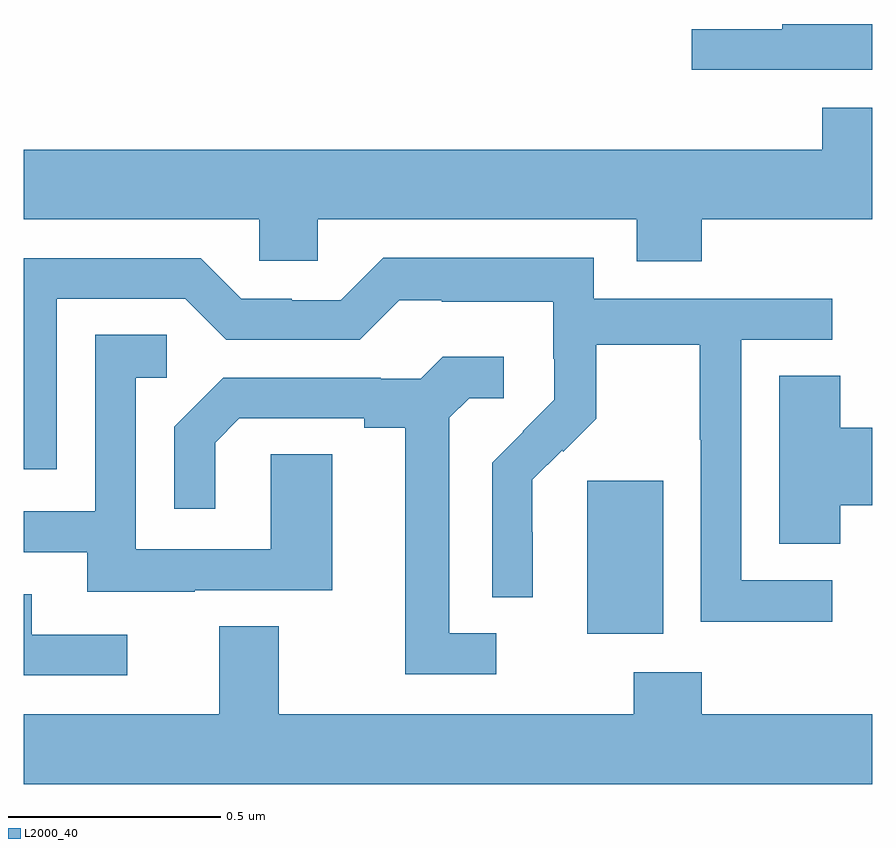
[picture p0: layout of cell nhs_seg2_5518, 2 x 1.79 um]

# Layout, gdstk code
import gdstk
lib = gdstk.Library(unit=1e-6, precision=1e-09)
def R(c, l, rs):  # rectangles x0, y0, x1, y1
    for r in rs: c.add(gdstk.rectangle(r[:2], r[2:], *l))
def P(c, l, *ps):  # polygons
    for p in ps: c.add(gdstk.Polygon(p, *l))
L2000_40 = (2000, 40)

nhs_seg2_5518 = lib.new_cell('nhs_seg2_5518')
R(nhs_seg2_5518, L2000_40, [(181.328,609.362,181.507,609.723)])
P(nhs_seg2_5518, L2000_40, [(182,610.8),(181.788,610.8),(181.788,610.788),(181.575,610.788),(181.575,610.692),(182,610.692)],
  [(181.598,610.34),(182,610.34),(182,610.603),(181.883,610.603),(181.883,610.504),(180,610.504),(180,610.34),(180.555,610.34),(180.555,610.242),(180.693,610.242),(180.693,610.34),(181.445,610.34),(181.445,610.241),(181.598,610.241)],
  [(181.906,609.489),(181.692,609.489),(181.692,610.056),(181.906,610.056),(181.906,610.152),(181.344,610.152),(181.344,610.249),(180.847,610.249),(180.747,610.149),(180.632,610.149),(180.632,610.152),(180.513,610.152),(180.417,610.248),(180,610.248),(180,609.75),(180.078,609.75),(180.078,610.152),(180.381,610.152),(180.477,610.056),(180.792,610.056),(180.885,610.149),(180.985,610.149),(180.985,610.145),(181.248,610.145),(181.248,610.011),(181.25,610.011),(181.25,609.914),(181.176,609.84),(181.177,609.839),(181.104,609.766),(181.104,609.448),(181.2,609.448),(181.2,609.602),(181.199,609.602),(181.199,609.725),(181.269,609.795),(181.272,609.792),(181.349,609.869),(181.349,610.044),(181.594,610.044),(181.594,609.82),(181.596,609.82),(181.596,609.391),(181.906,609.391)],
  [(180.403,609.465),(180.727,609.465),(180.727,609.785),(180.582,609.785),(180.582,609.561),(180.264,609.561),(180.264,609.966),(180.337,609.966),(180.337,610.067),(180.168,610.067),(180.168,609.651),(180,609.651),(180,609.555),(180.149,609.555),(180.149,609.461),(180.403,609.461)],
  [(181.114,609.363),(181.003,609.363),(181.003,609.871),(181.05,609.918),(181.132,609.918),(181.132,610.015),(180.988,610.015),(180.936,609.963),(180.842,609.963),(180.842,609.966),(180.47,609.966),(180.354,609.85),(180.354,609.657),(180.451,609.657),(180.451,609.813),(180.508,609.87),(180.803,609.87),(180.803,609.848),(180.899,609.848),(180.899,609.267),(181.114,609.267)],
  [(181.925,609.665),(182,609.665),(182,609.848),(181.925,609.848),(181.925,609.971),(181.781,609.971),(181.781,609.574),(181.925,609.574)],
  [(180.244,609.36),(180.019,609.36),(180.019,609.456),(180,609.456),(180,609.264),(180.244,609.264)],
  [(182,609.172),(181.598,609.172),(181.598,609.271),(181.438,609.271),(181.438,609.172),(180.601,609.172),(180.601,609.38),(180.461,609.38),(180.461,609.172),(180,609.172),(180,609.008),(182,609.008)])

lib.write_gds('nhs_seg2_5518.gds')
